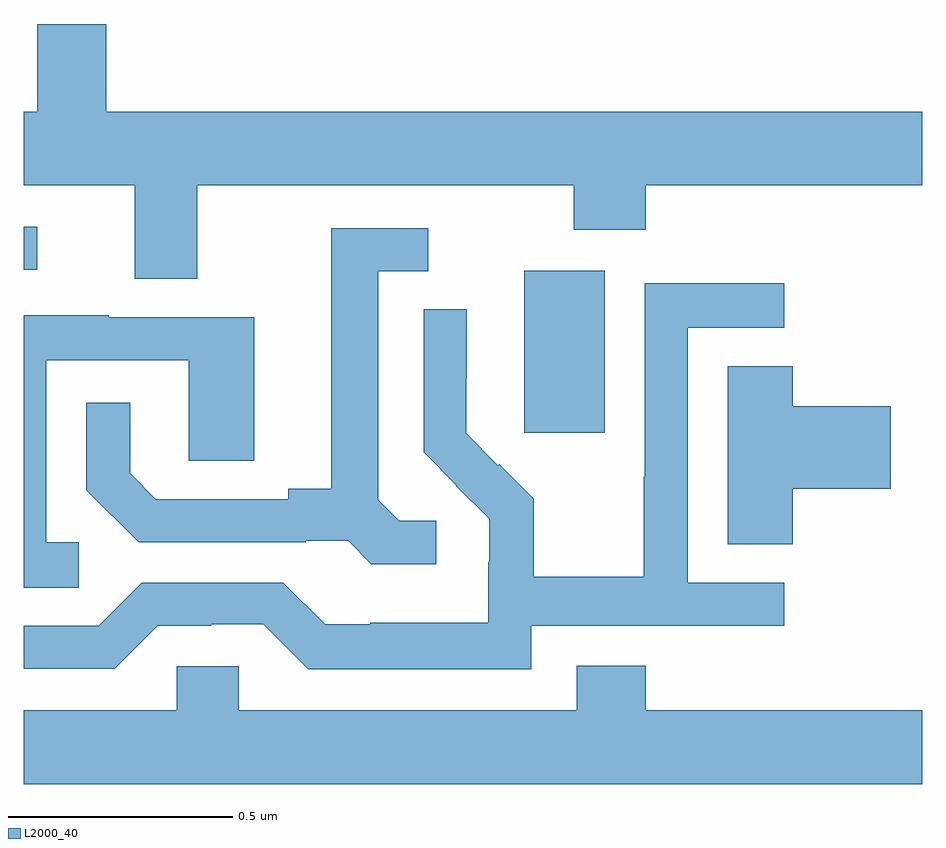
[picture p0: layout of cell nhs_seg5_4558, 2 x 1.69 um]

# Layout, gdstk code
import gdstk
lib = gdstk.Library(unit=1e-6, precision=1e-09)
def R(c, l, rs):  # rectangles x0, y0, x1, y1
    for r in rs: c.add(gdstk.rectangle(r[:2], r[2:], *l))
def P(c, l, *ps):  # polygons
    for p in ps: c.add(gdstk.Polygon(p, *l))
L2000_40 = (2000, 40)

nhs_seg5_4558 = lib.new_cell('nhs_seg5_4558')
R(nhs_seg5_4558, L2000_40, [(173.114,866.865,173.293,867.226), (172,867.228,172.03,867.324)])
P(nhs_seg5_4558, L2000_40, [(172.387,867.416),(173.224,867.416),(173.224,867.317),(173.384,867.317),(173.384,867.416),(174,867.416),(174,867.58),(172.184,867.58),(172.184,867.775),(172.031,867.775),(172.031,867.58),(172,867.58),(172,867.416),(172.247,867.416),(172.247,867.208),(172.387,867.208)],
  [(172.918,866.67),(172.836,866.67),(172.789,866.717),(172.789,867.225),(172.9,867.225),(172.9,867.321),(172.685,867.321),(172.685,866.741),(172.589,866.741),(172.589,866.718),(172.294,866.718),(172.237,866.775),(172.237,866.932),(172.14,866.932),(172.14,866.738),(172.256,866.622),(172.628,866.622),(172.628,866.625),(172.722,866.625),(172.774,866.573),(172.918,866.573)],
  [(173.13,866.436),(173.692,866.436),(173.692,866.532),(173.478,866.532),(173.478,867.099),(173.692,867.099),(173.692,867.198),(173.382,867.198),(173.382,866.768),(173.38,866.768),(173.38,866.545),(173.135,866.545),(173.135,866.719),(173.058,866.796),(173.055,866.793),(172.985,866.864),(172.985,866.986),(172.986,866.986),(172.986,867.14),(172.89,867.14),(172.89,866.822),(172.963,866.749),(172.962,866.748),(173.036,866.674),(173.036,866.577),(173.034,866.577),(173.034,866.443),(172.771,866.443),(172.771,866.439),(172.671,866.439),(172.578,866.532),(172.263,866.532),(172.167,866.436),(172,866.436),(172,866.34),(172.203,866.34),(172.299,866.436),(172.418,866.436),(172.418,866.439),(172.533,866.439),(172.633,866.339),(173.13,866.339)],
  [(172.123,866.622),(172.05,866.622),(172.05,867.027),(172.368,867.027),(172.368,866.803),(172.513,866.803),(172.513,867.123),(172.189,867.123),(172.189,867.127),(172,867.127),(172,866.521),(172.123,866.521)],
  [(173.711,866.741),(173.929,866.741),(173.929,866.924),(173.711,866.924),(173.711,867.014),(173.567,867.014),(173.567,866.617),(173.711,866.617)],
  [(174,866.248),(173.384,866.248),(173.384,866.347),(173.231,866.347),(173.231,866.248),(172.479,866.248),(172.479,866.346),(172.341,866.346),(172.341,866.248),(172,866.248),(172,866.084),(174,866.084)])

lib.write_gds('nhs_seg5_4558.gds')
